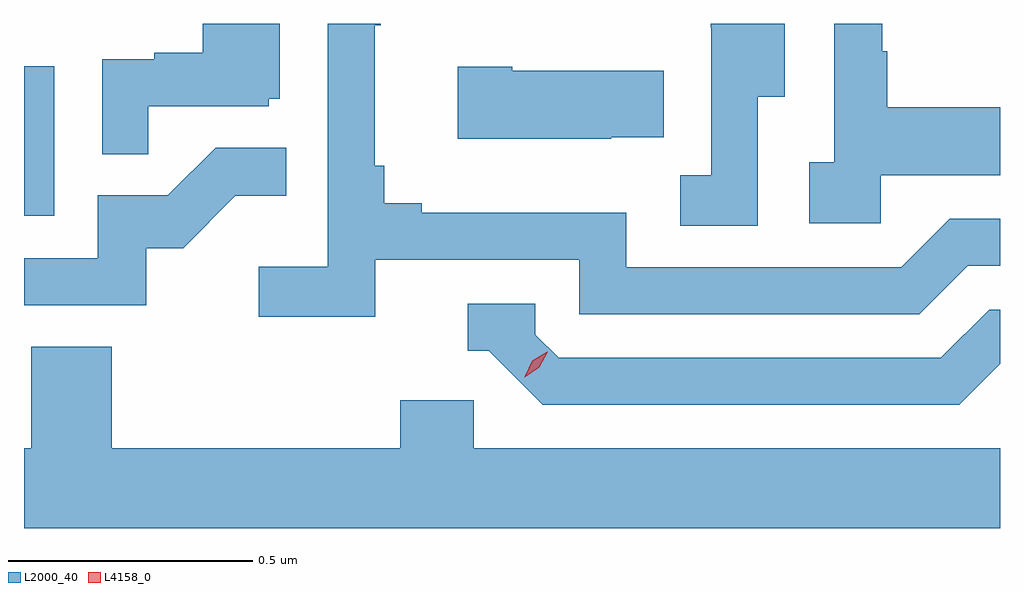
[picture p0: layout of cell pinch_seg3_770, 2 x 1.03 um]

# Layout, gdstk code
import gdstk
lib = gdstk.Library(unit=1e-6, precision=1e-09)
def R(c, l, rs):  # rectangles x0, y0, x1, y1
    for r in rs: c.add(gdstk.rectangle(r[:2], r[2:], *l))
def P(c, l, *ps):  # polygons
    for p in ps: c.add(gdstk.Polygon(p, *l))
L2000_40 = (2000, 40)
L4158_0 = (4158, 0)

pinch_seg3_770 = lib.new_cell('pinch_seg3_770')
R(pinch_seg3_770, L2000_40, [(849.182,733.524,849.244,733.831)])
P(pinch_seg3_770, L2000_40, [(849.902,733.434),(850.32,733.434),(850.32,733.323),(851.017,733.323),(851.116,733.422),(851.182,733.422),(851.182,733.518),(851.079,733.518),(850.98,733.419),(850.416,733.419),(850.416,733.531),(849.997,733.531),(849.997,733.55),(849.92,733.55),(849.92,733.627),(849.901,733.627),(849.901,733.915),(849.913,733.915),(849.913,733.918),(849.804,733.918),(849.804,733.42),(849.663,733.42),(849.663,733.318),(849.902,733.318)],
  [(849.437,733.749),(849.684,733.749),(849.684,733.764),(849.706,733.764),(849.706,733.918),(849.548,733.918),(849.548,733.858),(849.449,733.858),(849.449,733.845),(849.342,733.845),(849.342,733.651),(849.437,733.651)],
  [(850.686,733.768),(850.741,733.768),(850.741,733.918),(850.589,733.918),(850.589,733.911),(850.59,733.911),(850.59,733.607),(850.527,733.607),(850.527,733.504),(850.686,733.504)],
  [(850.938,733.607),(851.182,733.607),(851.182,733.747),(850.951,733.747),(850.951,733.862),(850.941,733.862),(850.941,733.918),(850.842,733.918),(850.842,733.634),(850.791,733.634),(850.791,733.509),(850.938,733.509)],
  [(850.385,733.685),(850.493,733.685),(850.493,733.822),(850.183,733.822),(850.183,733.83),(850.071,733.83),(850.071,733.682),(850.385,733.682)],
  [(849.432,733.458),(849.508,733.458),(849.615,733.565),(849.719,733.565),(849.719,733.664),(849.575,733.664),(849.477,733.566),(849.333,733.566),(849.333,733.437),(849.182,733.437),(849.182,733.341),(849.432,733.341)],
  [(851.182,733.221),(851.182,733.332),(851.16,733.332),(851.061,733.233),(850.278,733.233),(850.23,733.281),(850.23,733.344),(850.091,733.344),(850.091,733.248),(850.134,733.248),(850.245,733.137),(851.098,733.137)],
  [(851.182,733.048),(850.104,733.048),(850.104,733.146),(849.953,733.146),(849.953,733.048),(849.362,733.048),(849.362,733.256),(849.197,733.256),(849.197,733.048),(849.182,733.048),(849.182,732.884),(851.182,732.884)])
P(pinch_seg3_770, L4158_0, [(850.208,733.194),(850.208,733.195),(850.224,733.227),(850.254,733.246),(850.255,733.246),(850.255,733.246),(850.238,733.214),(850.208,733.194)])

lib.write_gds('pinch_seg3_770.gds')
